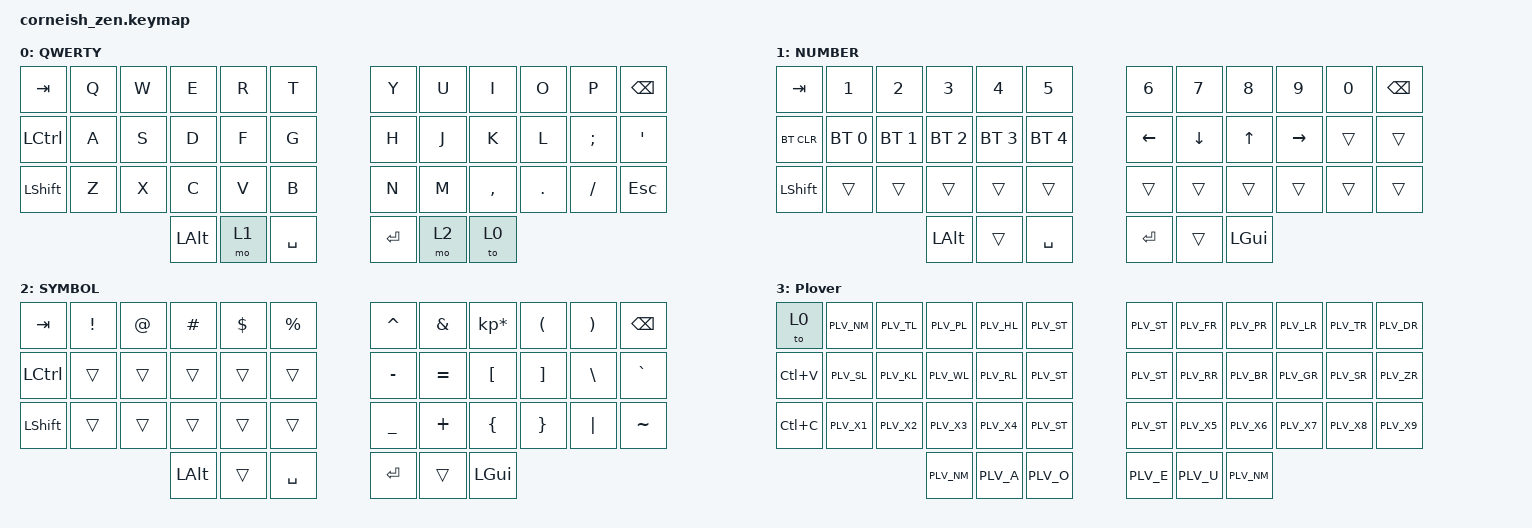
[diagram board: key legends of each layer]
#include <behaviors.dtsi>
#include <dt-bindings/zmk/keys.h>
#include <dt-bindings/zmk/bt.h>

/ {
  chosen {
    zmk,matrix_transform = &default_transform;
    //zmk,matrix_transform = &five_column_transform;
  };
};

/ {
        keymap {
                compatible = "zmk,keymap";

                default_layer {
                        label = "QWERTY";
// -----------------------------------------------------------------------------------------
// |  TAB |  Q  |  W  |  E  |  R  |  T  |   |  Y  |  U   |  I  |  O  |  P  | BKSP |
// | CTRL |  A  |  S  |  D  |  F  |  G  |   |  H  |  J   |  K  |  L  |  ;  |  '   |
// | SHFT |  Z  |  X  |  C  |  V  |  B  |   |  N  |  M   |  ,  |  .  |  /  | ESC  |
//                    | GUI | LWR | SPC |   | ENT | RSE  | ALT |
                        bindings = <
   &kp TAB   &kp Q &kp W &kp E &kp R &kp T   &kp Y &kp U  &kp I     &kp O   &kp P    &kp BSPC
   &kp LCTRL &kp A &kp S &kp D &kp F &kp G   &kp H &kp J  &kp K     &kp L   &kp SEMI &kp SQT
   &kp LSHFT &kp Z &kp X &kp C &kp V &kp B   &kp N &kp M  &kp COMMA &kp DOT &kp FSLH &kp ESC
                  &kp LALT &mo 1 &kp SPACE   &kp RET &mo 2 &to 0
                        >;
                };
                lower_layer {
                        label = "NUMBER";
// -----------------------------------------------------------------------------------------
// |  TAB |  1  |  2  |  3  |  4  |  5  |   |  6  |  7  |  8  |  9  |  0  | BKSP |
// | BTCLR| BT1 | BT2 | BT3 | BT4 | BT5 |   | LFT | DWN |  UP | RGT |     |      |
// | SHFT |     |     |     |     |     |   |     |     |     |     |     |      |
//                    | GUI |     | SPC |   | ENT |     | ALT |
                        bindings = <
   &kp TAB    &kp N1       &kp N2       &kp N3       &kp N4       &kp N5         &kp N6   &kp N7   &kp N8 &kp N9    &kp N0 &kp BSPC
   &bt BT_CLR &bt BT_SEL 0 &bt BT_SEL 1 &bt BT_SEL 2 &bt BT_SEL 3 &bt BT_SEL 4   &kp LEFT &kp DOWN &kp UP &kp RIGHT &trans &trans
   &kp LSHFT  &trans       &trans       &trans       &trans       &trans         &trans   &trans   &trans &trans    &trans &trans
                          	        &kp LALT     &trans       &kp SPACE      &kp RET  &trans   &kp LGUI
                        >;
                };

                raise_layer {
                        label = "SYMBOL";
// -----------------------------------------------------------------------------------------
// |  TAB |  !  |  @  |  #  |  $  |  %  |   |  ^  |  &  |  *  |  (  |  )  | BKSP |
// | CTRL |     |     |     |     |     |   |  -  |  =  |  [  |  ]  |  \  |  `   |
// | SHFT |     |     |     |     |     |   |  _  |  +  |  {  |  }  | "|" |  ~   |
//                    | GUI |     | SPC |   | ENT |     | ALT |
                        bindings = <
   &kp  TAB  &kp EXCL &kp AT &kp HASH &kp DLLR &kp PRCNT   &kp CARET &kp AMPS  &kp KP_MULTIPLY &kp LPAR &kp RPAR &kp BSPC
   &kp LCTRL &trans   &trans &trans   &trans   &trans      &kp MINUS &kp EQUAL &kp LBKT        &kp RBKT &kp BSLH &kp GRAVE
   &kp LSHFT &trans   &trans &trans   &trans   &trans      &kp UNDER &kp PLUS  &kp LBRC        &kp RBRC &kp PIPE &kp TILDE
                    	     &kp LALT &trans   &kp SPACE   &kp RET   &trans    &kp LGUI
                        >;
                };
                
                plover_layer {
                    label = "Plover";
                    bindings = <
                        &to 0   &kp PLV_NM  &kp PLV_TL  &kp PLV_PL  &kp PLV_HL  &kp PLV_ST         &kp PLV_ST &kp PLV_FR  &kp PLV_PR  &kp PLV_LR  &kp PLV_TR  &kp PLV_DR
                        &kp LC(V)   &kp PLV_SL  &kp PLV_KL  &kp PLV_WL  &kp PLV_RL  &kp PLV_ST         &kp PLV_ST &kp PLV_RR  &kp PLV_BR  &kp PLV_GR  &kp PLV_SR  &kp PLV_ZR
                        &kp LC(C)   &kp PLV_X1  &kp PLV_X2  &kp PLV_X3  &kp PLV_X4  &kp PLV_ST         &kp PLV_ST  &kp PLV_X5  &kp PLV_X6  &kp PLV_X7  &kp PLV_X8  &kp PLV_X9
                                                        &kp PLV_NM   &kp PLV_A  &kp PLV_O           &kp PLV_E  &kp PLV_U &kp  PLV_NM 

                    >;
                };
        };
};
